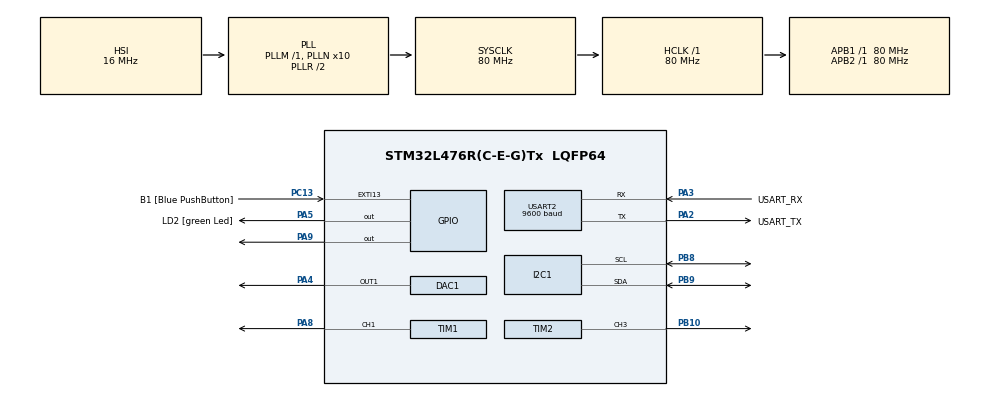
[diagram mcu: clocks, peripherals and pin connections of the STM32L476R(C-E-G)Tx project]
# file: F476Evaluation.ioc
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DAC1.DAC_Trigger-DAC_OUT1=DAC_TRIGGER_NONE
I2C1.Timing=0x10909CEC
Mcu.Family=STM32L4
Mcu.Name=STM32L476R(C-E-G)Tx
Mcu.Package=LQFP64
NVIC.EXTI15_10_IRQn=true\:11\:0\:true\:false\:true\:true\:true\:true
NVIC.I2C1_ER_IRQn=true\:0\:0\:false\:false\:true\:true\:true\:true
NVIC.I2C1_EV_IRQn=true\:0\:0\:false\:false\:true\:true\:true\:true
NVIC.PriorityGroup=NVIC_PRIORITYGROUP_4
NVIC.TIM1_BRK_TIM15_IRQn=true\:9\:0\:true\:false\:true\:true\:true\:true
NVIC.TIM1_CC_IRQn=true\:9\:0\:true\:false\:true\:true\:true\:true
NVIC.TIM1_TRG_COM_TIM17_IRQn=true\:9\:0\:true\:false\:true\:true\:true\:true
NVIC.TIM1_UP_TIM16_IRQn=true\:9\:0\:true\:false\:true\:true\:true\:true
NVIC.TIM6_DAC_IRQn=true\:2\:0\:true\:false\:true\:true\:true\:true
NVIC.USART2_IRQn=true\:0\:0\:false\:false\:true\:true\:true\:true
PA13\ (JTMS-SWDIO).GPIO_Label=TMS
PA13\ (JTMS-SWDIO).Mode=Serial_Wire
PA13\ (JTMS-SWDIO).Signal=SYS_JTMS-SWDIO
PA14\ (JTCK-SWCLK).GPIO_Label=TCK
PA14\ (JTCK-SWCLK).Mode=Serial_Wire
PA14\ (JTCK-SWCLK).Signal=SYS_JTCK-SWCLK
PA2.GPIO_Label=USART_TX
PA2.GPIO_Mode=GPIO_MODE_AF_PP
PA2.GPIO_PuPd=GPIO_NOPULL
PA2.GPIO_Speed=GPIO_SPEED_FREQ_VERY_HIGH
PA2.Mode=Asynchronous
PA2.Signal=USART2_TX
PA3.GPIO_Label=USART_RX
PA3.GPIO_Mode=GPIO_MODE_AF_PP
PA3.GPIO_PuPd=GPIO_NOPULL
PA3.GPIO_Speed=GPIO_SPEED_FREQ_VERY_HIGH
PA3.Mode=Asynchronous
PA3.Signal=USART2_RX
PA4.Signal=COMP_DAC11_group
PA5.GPIO_Label=LD2 [green Led]
PA5.GPIO_ModeDefaultOutputPP=GPIO_MODE_OUTPUT_PP
PA5.GPIO_PuPd=GPIO_NOPULL
PA5.GPIO_Speed=GPIO_SPEED_FREQ_LOW
PA5.Signal=GPIO_Output
PA8.Signal=S_TIM1_CH1
PA9.Signal=GPIO_Output
PB10.Signal=S_TIM2_CH3
PB3\ (JTDO-TRACESWO).GPIO_Label=SWO
PB3\ (JTDO-TRACESWO).Signal=SYS_JTDO-SWO
PB8.Mode=I2C
PB8.Signal=I2C1_SCL
PB9.Mode=I2C
PB9.Signal=I2C1_SDA
PC13.GPIO_Label=B1 [Blue PushButton]
PC13.GPIO_ModeDefaultEXTI=GPIO_MODE_IT_FALLING
PC13.GPIO_PuPd=GPIO_NOPULL
PC13.Signal=GPXTI13
PC14-OSC32_IN\ (PC14).Mode=LSE-External-Oscillator
PC14-OSC32_IN\ (PC14).Signal=RCC_OSC32_IN
PC15-OSC32_OUT\ (PC15).Mode=LSE-External-Oscillator
PC15-OSC32_OUT\ (PC15).Signal=RCC_OSC32_OUT
PC5.Mode=SYS_WakeUp4
PC5.Signal=SYS_WKUP5
PH0-OSC_IN\ (PH0).Signal=RCC_OSC_IN
PH1-OSC_OUT\ (PH1).Signal=RCC_OSC_OUT
ProjectManager.HeapSize=0x200
ProjectManager.StackSize=0x400
ProjectManager.TargetToolchain=STM32CubeIDE
RCC.ADCFreq_Value=64000000
RCC.AHBFreq_Value=80000000
RCC.APB1Freq_Value=80000000
RCC.APB1TimFreq_Value=80000000
RCC.APB2Freq_Value=80000000
RCC.APB2TimFreq_Value=80000000
RCC.CortexFreq_Value=80000000
RCC.HCLKFreq_Value=80000000
RCC.HSE_VALUE=8000000
RCC.HSI_VALUE=16000000
RCC.MSI_VALUE=4000000
RCC.PLLN=10
RCC.PLLSourceVirtual=RCC_PLLSOURCE_HSI
RCC.PREFETCH_ENABLE=1
RCC.RTCClockSelection=RCC_RTCCLKSOURCE_LSE
RCC.SYSCLKFreq_VALUE=80000000
RCC.SYSCLKSource=RCC_SYSCLKSOURCE_PLLCLK
RCC.USBFreq_Value=64000000
RCC.VCOOutputFreq_Value=160000000
SH.COMP_DAC11_group.0=DAC1_OUT1,DAC_OUT1
SH.S_TIM1_CH1.0=TIM1_CH1,PWM Generation1 CH1
SH.S_TIM2_CH3.0=TIM2_CH3,PWM Generation3 CH3
TIM1.AutoReloadPreload=TIM_AUTORELOAD_PRELOAD_ENABLE
TIM1.Channel-Output\ Compare2\ No\ Output=TIM_CHANNEL_2
TIM1.Channel-PWM\ Generation1\ CH1=TIM_CHANNEL_1
TIM1.ClockDivision=TIM_CLOCKDIVISION_DIV1
TIM1.OCMode_2=TIM_OCMODE_ACTIVE
TIM1.Period=5000-1
TIM1.Prescaler=8000-1
TIM1.Pulse-Output\ Compare2\ No\ Output=1000-1
TIM1.Pulse-PWM\ Generation1\ CH1=1000-1
TIM2.AutoReloadPreload=TIM_AUTORELOAD_PRELOAD_ENABLE
TIM2.Channel-PWM\ Generation3\ CH3=TIM_CHANNEL_3
TIM2.Period=100-1
TIM2.Prescaler=8-1
TIM2.Pulse-PWM\ Generation3\ CH3=50
TIM6.AutoReloadPreload=TIM_AUTORELOAD_PRELOAD_ENABLE
TIM6.Period=50-1
TIM6.Prescaler=80-1
TIM6.TIM_MasterOutputTrigger=TIM_TRGO_RESET
USART2.BaudRate=9600
USART2.VirtualMode-Asynchronous=VM_ASYNC
VP_IWDG_VS_IWDG.Mode=IWDG_Activate
VP_RTC_VS_RTC_Activate.Mode=RTC_Enabled
VP_RTC_VS_RTC_Calendar.Mode=RTC_Calendar
VP_TIM1_VS_ClockSourceINT.Mode=Internal
VP_TIM1_VS_no_output2.Mode=Output Compare2 No Output
VP_TIM2_VS_ClockSourceINT.Mode=Internal
VP_TIM6_VS_ClockSourceINT.Mode=Enable_Timer
board=NUCLEO-L476RG

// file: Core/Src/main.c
/* USER CODE BEGIN Header */
/**
 ******************************************************************************
 * @file           : main.c
 * @brief          : Main program body
 ******************************************************************************
 * @attention
 *
 * Copyright (c) 2022 STMicroelectronics.
 * All rights reserved.
 *
 * This software is licensed under terms that can be found in the LICENSE file
 * in the root directory of this software component.
 * If no LICENSE file comes with this software, it is provided AS-IS.
 *
 ******************************************************************************
 */
/* USER CODE END Header */
#include "dac.h"
#include "gpio.h"
#include "i2c.h"
#include "iwdg.h"
#include "main.h"
#include "rtc.h"
#include "tim.h"
#include "usart.h"

/* USER CODE BEGIN Includes */
#include <string.h>

#include "debug.h"
#include "htu21d.h"
#include "led.h"
#include "timer1.h"
#include "timer2_pwm.h"
#include "usart.h"
/* USER CODE END Includes */

/* USER CODE BEGIN PV */
/**
 * Variable to store temperature.
 */
static float Temperature;
/**
 * Variable to store Humifier
 */
static float Humidity;
/**
 * Test message for test.
 */
static const uint8_t TestMessage[32u] = "This is test message.\n";
/**
 * Request flag to execute any process.
 */
static bool IsProcessRequested;

/**
 * Process Number.
 */
static int32_t ProcessNo;

/* USER CODE END PV */

void SystemClock_Config(void);
/* USER CODE BEGIN PFP */
static void execute_process(void);
static void hal_uart_transmit_proc(void);
static bool hal_uart_transmit_it_proc(void);
static bool htu21d_measure_temperature_proc(void);
static bool htu21d_measure_humidity_proc(void);
static void send_measure_data_proc(void);
static void initial_datetime(void);
static void set_datetime_to_msgbuf(void);
static void on_timer1_update(void);

/* USER CODE END PFP */

int main(void) {
    /* USER CODE BEGIN 1 */
    Temperature = 0.0f;
    Humidity = 0.0f;
    IsProcessRequested = false;
    ProcessNo = 0L;
    /* USER CODE END 1 */

    /* MCU Configuration--------------------------------------------------------*/

    /* Reset of all peripherals, Initializes the Flash interface and the Systick. */
    HAL_Init();

    /* Configure the system clock */
    SystemClock_Config();

    /* Initialize all configured peripherals */
    MX_GPIO_Init();
    MX_USART2_UART_Init();
    MX_I2C1_Init();
    MX_TIM1_Init();
    MX_TIM2_Init();
    MX_RTC_Init();
    MX_IWDG_Init();
    MX_DAC1_Init();
    MX_TIM6_Init();
    /* USER CODE BEGIN 2 */
    htu21d_init();

    if (__HAL_PWR_GET_FLAG(PWR_FLAG_SB) == RESET) {
        // POWER ON RESET.
        dprintf("Power on reset.\n");
        initial_datetime();
    } else if (__HAL_PWR_GET_FLAG(PWR_FLAG_SB) != RESET) {
        __HAL_PWR_CLEAR_FLAG(PWR_FLAG_SB);
        dprintf("Wakeup from standby.\n");
        HAL_PWR_DisableWakeUpPin(PWR_WAKEUP_PIN5); // Disable wakeup pin.
    }

    /* USER CODE END 2 */

    /* Infinite loop */
    /* USER CODE BEGIN WHILE */
    timer1_set_handler(on_timer1_update);
    timer1_start();
    timer2_pwm_start();

    while (1) {
        /* USER CODE END WHILE */

        /* USER CODE BEGIN 3 */
        HAL_IWDG_Refresh(&hiwdg); // Refresh IWDG.

        if (HAL_GPIO_ReadPin(GPIOC, GPIO_PIN_5) == GPIO_PIN_RESET) {
        }
        if (IsProcessRequested) {
            execute_process();
            IsProcessRequested = false;
        }
        // Try wait.
        HAL_SuspendTick();
        // Enter SLEEP mode.
        // Wakeup condition : Interrupts or event.
        HAL_PWR_EnterSLEEPMode(PWR_LOWPOWERREGULATOR_ON, PWR_SLEEPENTRY_WFE);
        HAL_ResumeTick();
    }
    /* USER CODE END 3 */
}

void SystemClock_Config(void) {
    RCC_OscInitTypeDef RCC_OscInitStruct = {0};
    RCC_ClkInitTypeDef RCC_ClkInitStruct = {0};

    /** Configure the main internal regulator output voltage
     */
    if (HAL_PWREx_ControlVoltageScaling(PWR_REGULATOR_VOLTAGE_SCALE1) != HAL_OK) {
        Error_Handler();
    }

    /** Configure LSE Drive Capability
     */
    HAL_PWR_EnableBkUpAccess();
    __HAL_RCC_LSEDRIVE_CONFIG(RCC_LSEDRIVE_LOW);

    /** Initializes the RCC Oscillators according to the specified parameters
     * in the RCC_OscInitTypeDef structure.
     */
    RCC_OscInitStruct.OscillatorType = RCC_OSCILLATORTYPE_HSI | RCC_OSCILLATORTYPE_LSI | RCC_OSCILLATORTYPE_LSE;
    RCC_OscInitStruct.LSEState = RCC_LSE_ON;
    RCC_OscInitStruct.HSIState = RCC_HSI_ON;
    RCC_OscInitStruct.HSICalibrationValue = RCC_HSICALIBRATION_DEFAULT;
    RCC_OscInitStruct.LSIState = RCC_LSI_ON;
    RCC_OscInitStruct.PLL.PLLState = RCC_PLL_ON;
    RCC_OscInitStruct.PLL.PLLSource = RCC_PLLSOURCE_HSI;
    RCC_OscInitStruct.PLL.PLLM = 1;
    RCC_OscInitStruct.PLL.PLLN = 10;
    RCC_OscInitStruct.PLL.PLLP = RCC_PLLP_DIV7;
    RCC_OscInitStruct.PLL.PLLQ = RCC_PLLQ_DIV2;
    RCC_OscInitStruct.PLL.PLLR = RCC_PLLR_DIV2;
    if (HAL_RCC_OscConfig(&RCC_OscInitStruct) != HAL_OK) {
        Error_Handler();
    }

    /** Initializes the CPU, AHB and APB buses clocks
     */
    RCC_ClkInitStruct.ClockType = RCC_CLOCKTYPE_HCLK | RCC_CLOCKTYPE_SYSCLK | RCC_CLOCKTYPE_PCLK1 | RCC_CLOCKTYPE_PCLK2;
    RCC_ClkInitStruct.SYSCLKSource = RCC_SYSCLKSOURCE_PLLCLK;
    RCC_ClkInitStruct.AHBCLKDivider = RCC_SYSCLK_DIV1;
    RCC_ClkInitStruct.APB1CLKDivider = RCC_HCLK_DIV1;
    RCC_ClkInitStruct.APB2CLKDivider = RCC_HCLK_DIV1;

    if (HAL_RCC_ClockConfig(&RCC_ClkInitStruct, FLASH_LATENCY_4) != HAL_OK) {
        Error_Handler();
    }
}

/* USER CODE BEGIN 4 */
/**
 * Execute process.
 */
static void execute_process(void) {
    const char *op_msg = NULL;

    uint32_t begin = HAL_GetTick();
    switch (ProcessNo) {
    case 0L:
        hal_uart_transmit_proc();
        op_msg = "HAL_UART_Transmit";
        ProcessNo++;
        break;
    case 1L:
        if (hal_uart_transmit_it_proc()) {
            op_msg = "HAL_UART_Transmit_IT";
            ProcessNo++;
        } else {
            op_msg = NULL;
        }
        break;
    case 2L:
        if (htu21d_measure_temperature_proc()) {
            op_msg = "htu21d_measure_temperature";
        }
        ProcessNo++;
        break;
    case 3L:
        if (htu21d_measure_humidity_proc()) {
            op_msg = "htu21d_measure_humidity";
        }
        ProcessNo++;
        break;
    case 4L:
    case 5L:
    case 6L:
    case 7L:
    case 8L:
        ProcessNo++;
        op_msg = NULL;
        break;
    default:
        send_measure_data_proc();
        ProcessNo = 0u;
        op_msg = NULL;
        break;
    }

    uint32_t elapse = HAL_GetTick() - begin;
    if (op_msg != NULL) {
        dprintf("%s %lu msec\n", op_msg, elapse);
    }
}

/**
 * Send serial data with using HAL_UART_Transmit() function.
 */
static void hal_uart_transmit_proc(void) {
    if (HAL_UART_Transmit(&huart2, TestMessage, sizeof(TestMessage), 32u) != HAL_OK) {
        // Ignore error.
    }
}
/**
 * Send serial data with using HAL_UART_Transmit_IT() function.
 */
static bool hal_uart_transmit_it_proc(void) {
    bool is_succeed = false;

    if (huart2.gState == HAL_UART_STATE_READY) {
        if (HAL_UART_Transmit_IT(&huart2, TestMessage, sizeof(TestMessage)) == HAL_OK) {
            is_succeed = true;
        }
    }

    return is_succeed;
}

/**
 * Measurement Temperature proc.
 */
static bool htu21d_measure_temperature_proc(void) { return htu21d_measure_temperature(&Temperature); }

/**
 * Measurement Humiditiy proc.
 */
static bool htu21d_measure_humidity_proc(void) { return htu21d_measure_humidity(&Humidity); }

/**
 * Message buffer which using to transmit measurement data.
 */
static char MsgBuf[256u];

/**
 * Send measurement data via UART.
 */
static void send_measure_data_proc(void) {
    set_datetime_to_msgbuf();

    int16_t temp_n = (int16_t)(Temperature);
    int16_t temp_d = (int16_t)((Temperature - temp_n) * 100.0f);
    int16_t humi_n = (int16_t)(Humidity);
    int16_t humi_d = (int16_t)((Humidity - humi_n) * 100.0f);
    snprintf(MsgBuf + 20u, sizeof(MsgBuf) - 20u, "Temp=%d.%d Humi=%d.%d\n", temp_n, temp_d, humi_n, humi_d);

    size_t len = strlen(MsgBuf);
    if (huart2.gState == HAL_UART_STATE_READY) {
        if (HAL_UART_Transmit_IT(&huart2, (uint8_t *)(MsgBuf), len) == HAL_OK) {
            // Ignore error.
        }
    }
}
/**
 * Initialize date and time.
 */
static void initial_datetime(void) {
    RTC_TimeTypeDef time;
    RTC_DateTypeDef date;

    memset(&time, 0u, sizeof(time));
    time.TimeFormat = RTC_FORMAT_BIN;
    time.Hours = 13u;
    time.Minutes = 00u;
    time.Seconds = 00u;
    HAL_RTC_SetTime(&hrtc, &time, RTC_FORMAT_BIN);

    memset(&date, 0u, sizeof(date));
    date.Year = 20u;
    date.Month = 03u;
    date.Date = 16u;
    HAL_RTC_SetDate(&hrtc, &date, RTC_FORMAT_BIN);

    return;
}

/**
 * Set date and time to MsgBuf.
 *
 * @note
 * This function write into MsgBuf[0]-MsgBuf[20].
 */
static void set_datetime_to_msgbuf(void) {
    RTC_TimeTypeDef time;
    RTC_DateTypeDef date;
    HAL_RTC_GetTime(&hrtc, &time, RTC_FORMAT_BCD);
    HAL_RTC_GetDate(&hrtc, &date, RTC_FORMAT_BCD);

    MsgBuf[0] = '2';
    MsgBuf[1] = '0';
    MsgBuf[2] = '0' + ((date.Year >> 4u) & 0x0Fu);
    MsgBuf[3] = '0' + ((date.Year >> 0u) & 0x0Fu);
    MsgBuf[4] = '/';
    MsgBuf[5] = '0' + ((date.Month >> 4u) & 0xFu);
    MsgBuf[6] = '0' + ((date.Month >> 0u) & 0xFu);
    MsgBuf[7] = '/';
    MsgBuf[8] = '0' + ((date.Date >> 4u) & 0xFu);
    MsgBuf[9] = '0' + ((date.Date >> 0u) & 0xFu);
    MsgBuf[10] = ' ';
    MsgBuf[11] = '0' + ((time.Hours >> 4u) & 0xFu);
    MsgBuf[12] = '0' + ((time.Hours >> 0u) & 0xFu);
    MsgBuf[13] = ':';
    MsgBuf[14] = '0' + ((time.Minutes >> 4u) & 0xFu);
    MsgBuf[15] = '0' + ((time.Minutes >> 0u) & 0xFu);
    MsgBuf[16] = ':';
    MsgBuf[17] = '0' + ((time.Seconds >> 4u) & 0xFu);
    MsgBuf[18] = '0' + ((time.Seconds >> 0u) & 0xFu);
    MsgBuf[19] = ' ';
    MsgBuf[20] = '\0';

    return;
}

/**
 * Timer callback handler.
 *
 * @brief  Period elapsed callback in non-blocking mode
 * @param  htim TIM handle
 * @retval None
 */
void HAL_TIM_PeriodElapsedCallback(TIM_HandleTypeDef *htim) {
    if (htim == &htim1) {
        // TIM1 Interrupt.
        timer1_on_update();
    } else if (htim == &htim6) {
        // TIM6 Interrupt.
    }
}

/**
 * Process on timer1 update.
 */
static void on_timer1_update(void) {
    IsProcessRequested = true;
    timer2_pwm_update_rate(); // Update PWM rate.
    return;
}

/**
 * Timer Output Compare callback
 */
void HAL_TIM_OC_DelayElapsedCallback(TIM_HandleTypeDef *htim) {
    if (htim == &htim1) {
        // TIM1 Interrupt.
        timer1_on_output_compare();
    }
}

/**
 * Interrupt routine of TIMx Pulse Finished.
 */
void HAL_TIM_PWM_PulseFinishedCallback(TIM_HandleTypeDef *htim) {
    if (htim == &htim1) {
        // TIM1 Interrupt.
        timer1_on_pwm_pulse_finished();
    }
}

/* USER CODE END 4 */

void Error_Handler(void) {
    __disable_irq();
    while (1) {
    }
}

#ifdef USE_FULL_ASSERT
/**
 * @brief  Reports the name of the source file and the source line number
 *         where the assert_param error has occurred.
 * @param  file: pointer to the source file name
 * @param  line: assert_param error line source number
 * @retval None
 */
void assert_failed(uint8_t *file, uint32_t line) {
    /* USER CODE BEGIN 6 */
    /* User can add his own implementation to report the file name and line
       number, ex: printf("Wrong parameters value: file %s on line %d\r\n", file,
       line) */
    /* USER CODE END 6 */
}
#endif /* USE_FULL_ASSERT */
